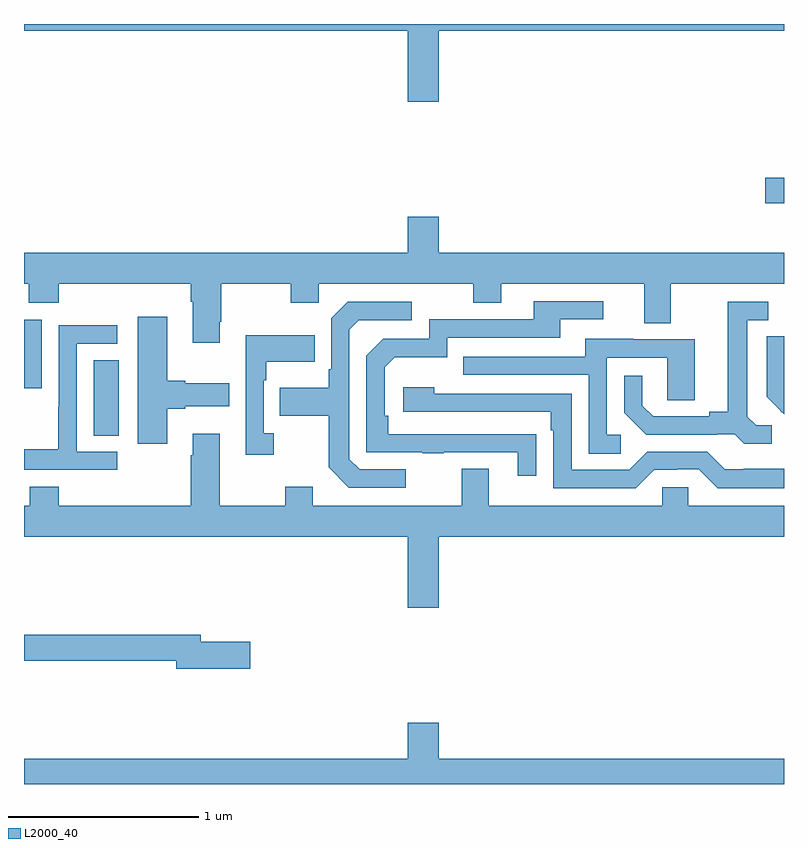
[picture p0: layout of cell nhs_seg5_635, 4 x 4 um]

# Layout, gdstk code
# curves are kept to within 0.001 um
import gdstk
lib = gdstk.Library(unit=1e-6, precision=1e-09)
def R(c, l, rs):  # rectangles x0, y0, x1, y1
    for r in rs: c.add(gdstk.rectangle(r[:2], r[2:], *l))
def P(c, l, *ps):  # polygons
    for p in ps: c.add(gdstk.Polygon(p, *l))
L2000_40 = (2000, 40)

nhs_seg5_635 = lib.new_cell('nhs_seg5_635')
R(nhs_seg5_635, L2000_40, [(151.367,850.633,151.498,851.03), (151,850.881,151.093,851.242), (154.902,851.855,155,851.99)])
P(nhs_seg5_635, L2000_40, [(153.184,852.764),(155,852.764),(155,852.799),(151,852.799),(151,852.764),(153.02,852.764),(153.02,852.39),(153.184,852.39)],
  [(152.029,851.233),(152.037,851.233),(152.037,851.432),(152.404,851.432),(152.404,851.333),(152.55,851.333),(152.55,851.432),(153.364,851.432),(153.364,851.333),(153.511,851.333),(153.511,851.432),(154.265,851.432),(154.265,851.224),(154.405,851.224),(154.405,851.432),(155,851.432),(155,851.596),(153.184,851.596),(153.184,851.785),(153.02,851.785),(153.02,851.596),(151,851.596),(151,851.432),(151.024,851.432),(151.024,851.333),(151.184,851.333),(151.184,851.432),(151.877,851.432),(151.877,851.336),(151.889,851.336),(151.889,851.121),(152.029,851.121)],
  [(153.695,850.64),(152.918,850.641),(152.918,850.738),(152.898,850.738),(152.898,850.992),(152.951,851.045),(153.228,851.045),(153.228,851.148),(153.823,851.148),(153.823,851.244),(154.048,851.244),(154.048,851.34),(153.683,851.34),(153.683,851.244),(153.132,851.244),(153.132,851.142),(152.892,851.142),(152.802,851.052),(152.802,850.545),(153.097,850.545),(153.097,850.54),(153.209,850.54),(153.209,850.545),(153.599,850.545),(153.599,850.422),(153.695,850.422)],
  [(154.936,850.686),(154.854,850.686),(154.807,850.733),(154.807,851.241),(154.918,851.241),(154.918,851.337),(154.703,851.337),(154.703,850.757),(154.607,850.757),(154.607,850.734),(154.312,850.734),(154.255,850.791),(154.255,850.948),(154.158,850.948),(154.158,850.754),(154.274,850.638),(154.646,850.638),(154.646,850.641),(154.74,850.641),(154.792,850.589),(154.936,850.589)],
  [(153.01,850.455),(152.766,850.455),(152.712,850.509),(152.712,851.19),(152.763,851.241),(153.04,851.241),(153.04,851.337),(152.703,851.337),(152.616,851.25),(152.616,850.981),(152.604,850.981),(152.604,850.885),(152.347,850.885),(152.347,850.738),(152.604,850.738),(152.604,850.465),(152.709,850.359),(153.01,850.359)],
  [(151.753,850.775),(151.849,850.775),(151.849,850.787),(152.08,850.787),(152.08,850.909),(151.849,850.909),(151.849,850.922),(151.753,850.922),(151.753,851.257),(151.598,851.257),(151.598,850.59),(151.753,850.59)],
  [(151.492,850.548),(151.278,850.548),(151.278,851.115),(151.492,851.115),(151.492,851.214),(151.182,851.214),(151.182,850.784),(151.18,850.784),(151.18,850.561),(151,850.561),(151,850.452),(151.492,850.452)],
  [(152.314,850.646),(152.262,850.646),(152.262,850.925),(152.275,850.925),(152.275,851.021),(152.531,851.021),(152.531,851.161),(152.166,851.161),(152.166,850.533),(152.314,850.533)],
  [(155,851.156),(154.908,851.156),(154.908,850.838),(154.981,850.765),(154.98,850.764),(155,850.744)],
  [(154.141,850.638),(154.068,850.638),(154.068,851.043),(154.386,851.043),(154.386,850.819),(154.531,850.819),(154.531,851.139),(154.207,851.139),(154.207,851.143),(153.953,851.143),(153.953,851.049),(153.313,851.049),(153.313,850.953),(153.972,850.953),(153.972,850.537),(154.141,850.537)],
  [(155,850.459),(154.789,850.459),(154.789,850.455),(154.689,850.455),(154.596,850.548),(154.281,850.548),(154.185,850.452),(153.882,850.452),(153.882,850.854),(153.158,850.854),(153.158,850.888),(152.997,850.888),(152.997,850.758),(153.773,850.758),(153.773,850.661),(153.786,850.661),(153.786,850.356),(154.221,850.356),(154.317,850.452),(154.436,850.452),(154.436,850.455),(154.551,850.455),(154.651,850.355),(155,850.355)],
  [(153.184,850.1),(155,850.1),(155,850.264),(154.497,850.264),(154.497,850.362),(154.359,850.362),(154.359,850.264),(153.445,850.264),(153.445,850.459),(153.305,850.459),(153.305,850.264),(152.521,850.264),(152.521,850.363),(152.374,850.363),(152.374,850.264),(152.029,850.264),(152.029,850.642),(151.889,850.642),(151.889,850.529),(151.877,850.529),(151.877,850.264),(151.184,850.264),(151.184,850.363),(151.031,850.363),(151.031,850.264),(151,850.264),(151,850.1),(153.02,850.1),(153.02,849.726),(153.184,849.726)],
  [(152.191,849.548),(151.93,849.548),(151.93,849.584),(151,849.584),(151,849.448),(151.802,849.448),(151.802,849.406),(152.191,849.406)],
  [(153.184,849.121),(153.02,849.121),(153.02,848.932),(151,848.932),(151,848.799),(155,848.799),(155,848.932),(153.184,848.932)])

lib.write_gds('nhs_seg5_635.gds')
